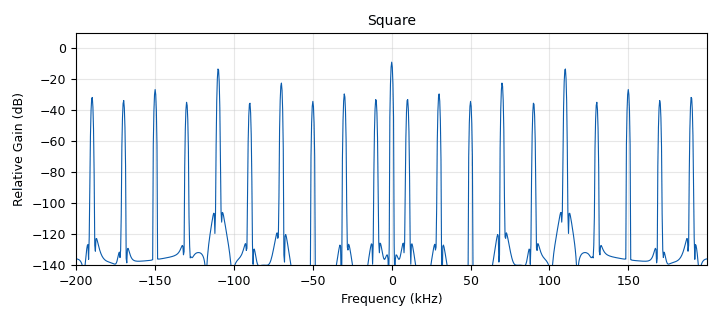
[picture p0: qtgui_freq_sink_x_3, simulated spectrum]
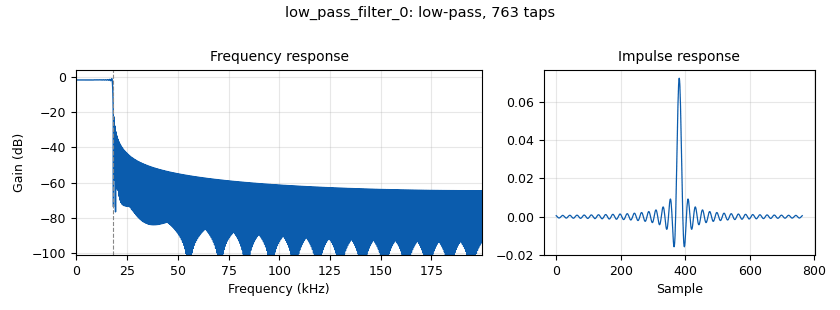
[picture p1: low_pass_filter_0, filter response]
options:
  parameters:
    author: jatin
    generate_options: qt_gui
    id: Jatin_task1
    output_language: python
    title: Jatin_task1
  states: {}

blocks:
- name: Gain
  id: variable_qtgui_range
  parameters:
    label: Gain
    start: '0'
    step: '0.1'
    stop: '2'
    value: '0.8'
  states: {}
- name: samp_rate
  id: variable
  parameters:
    value: '400000'
  states: {}
- name: analog_sig_source_x_0
  id: analog_sig_source_x
  parameters:
    amp: '2'
    freq: '110000'
    offset: '0'
    phase: '0'
    samp_rate: samp_rate
    type: float
    waveform: analog.GR_SQR_WAVE
  states: {}
- name: audio_sink_0
  id: audio_sink
  parameters:
    samp_rate: samp_rate
  states: {}
- name: blocks_file_source_0
  id: blocks_file_source
  parameters:
    file: /home/jatin/Desktop/IITB_Files/EE340/1Midsem/Mid-Sem/PROD2.dat
    repeat: 'True'
    type: float
  states: {}
- name: blocks_multiply_xx_0
  id: blocks_multiply_xx
  parameters:
    type: float
  states: {}
- name: dc_blocker_xx_0
  id: dc_blocker_xx
  parameters:
    length: '32'
    long_form: 'True'
    type: ff
  states: {state: disabled}
- name: low_pass_filter_0
  id: low_pass_filter
  parameters:
    cutoff_freq: '18000'
    decim: '1'
    gain: Gain
    samp_rate: samp_rate
    type: fir_filter_fff
    width: '500'
    win: window.WIN_RECTANGULAR
  states: {}
- name: qtgui_freq_sink_x_1
  id: qtgui_freq_sink_x
  parameters:
    bw: samp_rate
    fc: '0'
    fftsize: '1024'
    name: S_t
    type: float
  states: {}
- name: qtgui_freq_sink_x_2
  id: qtgui_freq_sink_x
  parameters:
    bw: samp_rate
    fc: '0'
    fftsize: '1024'
    name: S_tSquare
    type: float
  states: {}
- name: qtgui_freq_sink_x_2_0
  id: qtgui_freq_sink_x
  parameters:
    bw: samp_rate
    fc: '110000'
    fftsize: '1024'
    name: LPF
    type: float
  states: {}
- name: qtgui_freq_sink_x_3
  id: qtgui_freq_sink_x
  parameters:
    bw: samp_rate
    fc: '0'
    fftsize: '1024'
    name: Square
    type: float
  states: {}

connections:
- [analog_sig_source_x_0, '0', blocks_multiply_xx_0, '0']
- [analog_sig_source_x_0, '0', qtgui_freq_sink_x_3, '0']
- [blocks_file_source_0, '0', blocks_multiply_xx_0, '1']
- [blocks_file_source_0, '0', qtgui_freq_sink_x_1, '0']
- [blocks_multiply_xx_0, '0', low_pass_filter_0, '0']
- [blocks_multiply_xx_0, '0', qtgui_freq_sink_x_2, '0']
- [dc_blocker_xx_0, '0', audio_sink_0, '0']
- [dc_blocker_xx_0, '0', qtgui_freq_sink_x_2_0, '0']
- [low_pass_filter_0, '0', audio_sink_0, '0']
- [low_pass_filter_0, '0', dc_blocker_xx_0, '0']
- [low_pass_filter_0, '0', qtgui_freq_sink_x_2_0, '0']

metadata:
  file_format: 1
  grc_version: 3.10.9.2
